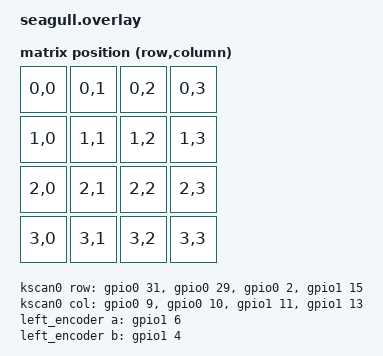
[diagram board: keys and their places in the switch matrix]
#include <dt-bindings/zmk/matrix_transform.h>
#include <physical_layouts.dtsi>

/ {
    chosen {
        zmk,physical-layout = &physical_layout0;
        zmk,kscan = &kscan0;
        zephyr,display = &oled;
    };

    default_transform: keymap_transform_0 {
        compatible = "zmk,matrix-transform";
        columns = <4>;
        rows = <4>;
        map = <
            RC(0,0) RC(0,1) RC(0,2) RC(0,3) 
            RC(1,0) RC(1,1) RC(1,2) RC(1,3) 
            RC(2,0) RC(2,1) RC(2,2) RC(2,3) 
            RC(3,0) RC(3,1) RC(3,2) RC(3,3) 
        >;
    };
 
    kscan0: kscan {
        compatible = "zmk,kscan-gpio-matrix";
        diode-direction = "col2row";
        wakeup-source;

        row-gpios =   <&gpio0 31 (GPIO_ACTIVE_HIGH | GPIO_PULL_DOWN)>
                    , <&gpio0 29 (GPIO_ACTIVE_HIGH | GPIO_PULL_DOWN)>
                    , <&gpio0 2 (GPIO_ACTIVE_HIGH | GPIO_PULL_DOWN)>
                    , <&gpio1 15 (GPIO_ACTIVE_HIGH | GPIO_PULL_DOWN)>;

        col-gpios
                =   <&gpio0 9 GPIO_ACTIVE_HIGH>,
                    <&gpio0 10 GPIO_ACTIVE_HIGH>,
                    <&gpio1 11 GPIO_ACTIVE_HIGH>,
                    <&gpio1 13 GPIO_ACTIVE_HIGH>;
    };
    
    left_encoder: encoder_left {
        compatible = "alps,ec11";
        a-gpios = <&gpio1 6 (GPIO_ACTIVE_HIGH | GPIO_PULL_UP)>;
        b-gpios = <&gpio1 4 (GPIO_ACTIVE_HIGH | GPIO_PULL_UP)>;
        steps = <28>;
        status = "okay";
    };

    sensors {
        compatible = "zmk,keymap-sensors";
        sensors = <&left_encoder>;
    };

    /* Physical layout */
    physical_layout0: physical_layout_0 { // First physical layout, use different naming for other layouts
        compatible = "zmk,physical-layout";
        display-name = "Default Layout";
        kscan = <&kscan0>; // Label of the kscan node, optional if all layouts use the same
        transform = <&default_transform>; // Label of the matrix transform for this layout
        keys  //                     w   h    x    y     rot    rx    ry
            = <&key_physical_attrs 100 100    0    0       0     0     0>
            , <&key_physical_attrs 100 100  100    0       0     0     0>
            , <&key_physical_attrs 100 100  200    0       0     0     0>
            , <&key_physical_attrs 100 100  300    0       0     0     0>
            , <&key_physical_attrs 100 100    0  100       0     0     0>
            , <&key_physical_attrs 100 100  100  100       0     0     0>
            , <&key_physical_attrs 100 100  200  100       0     0     0>
            , <&key_physical_attrs 100 100  300  100       0     0     0>
            , <&key_physical_attrs 100 100    0  200       0     0     0>
            , <&key_physical_attrs 100 100  100  200       0     0     0>
            , <&key_physical_attrs 100 100  200  200       0     0     0>
            , <&key_physical_attrs 100 100  300  200       0     0     0>
            , <&key_physical_attrs 100 100    0  300       0     0     0>
            , <&key_physical_attrs 100 100  100  300       0     0     0>
            , <&key_physical_attrs 100 100  200  300       0     0     0>
            , <&key_physical_attrs 100 100  300  300       0     0     0>
            ;
    };
};


// oled,I2c
&pinctrl {
    i2c0_default: i2c0_default {
            group1 {
                    psels = <NRF_PSEL(TWIM_SDA, 0, 17)>,
                            <NRF_PSEL(TWIM_SCL, 0, 20)>;
            };
    };

    i2c0_sleep: i2c0_sleep {
            group1 {
                    psels = <NRF_PSEL(TWIM_SDA, 0, 17)>,
                            <NRF_PSEL(TWIM_SCL, 0, 20)>;
                    low-power-enable;
            };
    };
};


&pro_micro_i2c {
    status = "okay";

    oled: ssd1306@3c {
        compatible = "solomon,ssd1306fb";
        reg = <0x3c>;
        width = <128>;
        height = <32>;
        segment-offset = <0>;
        page-offset = <0>;
        display-offset = <0>;
        multiplex-ratio = <31>;
        segment-remap;
        com-invdir;
        com-sequential;
        inversion-on;
        prechargep = <0x22>;
    };
};
